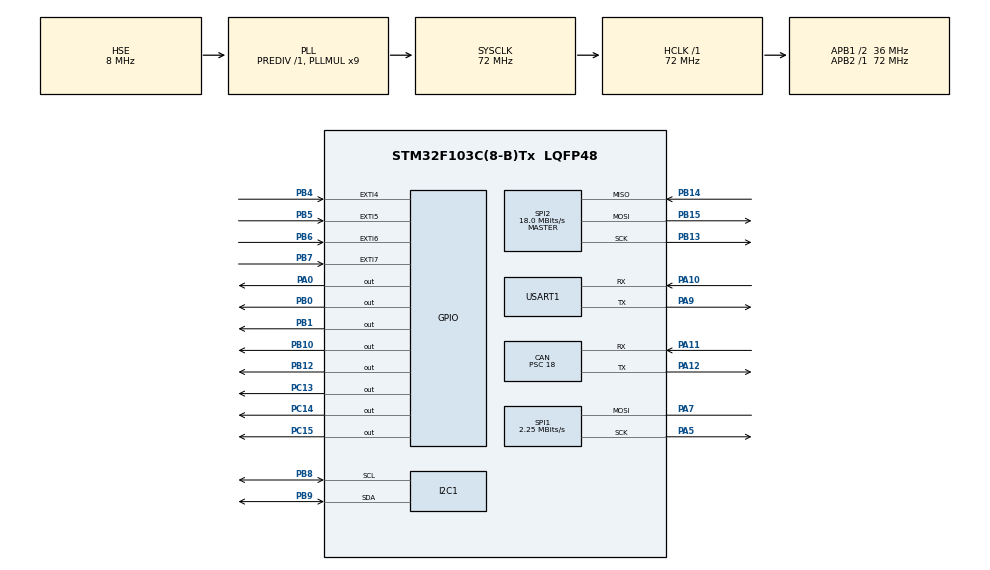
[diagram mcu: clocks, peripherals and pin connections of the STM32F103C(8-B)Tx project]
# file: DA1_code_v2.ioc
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CAN.BS1=CAN_BS1_2TQ
CAN.CalculateBaudRate=500000
CAN.CalculateTimeBit=2000
CAN.CalculateTimeQuantum=500.0
CAN.Prescaler=18
FATFS._MAX_SS=4096
FATFS._USE_LFN=1
Mcu.Family=STM32F1
Mcu.Name=STM32F103C(8-B)Tx
Mcu.Package=LQFP48
NVIC.CAN1_RX1_IRQn=true\:0\:0\:false\:false\:true\:true\:true\:true
NVIC.EXTI4_IRQn=true\:0\:0\:false\:false\:true\:true\:true\:true
NVIC.EXTI9_5_IRQn=true\:0\:0\:false\:false\:true\:true\:true\:true
NVIC.PriorityGroup=NVIC_PRIORITYGROUP_4
PA0-WKUP.PinState=GPIO_PIN_SET
PA0-WKUP.Signal=GPIO_Output
PA10.Mode=Asynchronous
PA10.Signal=USART1_RX
PA11.Mode=CAN_Activate
PA11.Signal=CAN_RX
PA12.Mode=CAN_Activate
PA12.Signal=CAN_TX
PA13.Mode=Serial_Wire
PA13.Signal=SYS_JTMS-SWDIO
PA14.Mode=Serial_Wire
PA14.Signal=SYS_JTCK-SWCLK
PA5.Mode=Simplex_Bidirectional_Master
PA5.Signal=SPI1_SCK
PA7.Mode=Simplex_Bidirectional_Master
PA7.Signal=SPI1_MOSI
PA9.Mode=Asynchronous
PA9.Signal=USART1_TX
PB0.Signal=GPIO_Output
PB1.Signal=GPIO_Output
PB10.Signal=GPIO_Output
PB12.Signal=GPIO_Output
PB13.Mode=Full_Duplex_Master
PB13.Signal=SPI2_SCK
PB14.Mode=Full_Duplex_Master
PB14.Signal=SPI2_MISO
PB15.Mode=Full_Duplex_Master
PB15.Signal=SPI2_MOSI
PB4.GPIO_ModeDefaultEXTI=GPIO_MODE_IT_FALLING
PB4.Signal=GPXTI4
PB5.GPIO_ModeDefaultEXTI=GPIO_MODE_IT_FALLING
PB5.Signal=GPXTI5
PB6.GPIO_ModeDefaultEXTI=GPIO_MODE_IT_FALLING
PB6.Signal=GPXTI6
PB7.GPIO_ModeDefaultEXTI=GPIO_MODE_IT_FALLING
PB7.Signal=GPXTI7
PB8.Mode=I2C
PB8.Signal=I2C1_SCL
PB9.Mode=I2C
PB9.Signal=I2C1_SDA
PC13-TAMPER-RTC.Signal=GPIO_Output
PC14-OSC32_IN.Signal=GPIO_Output
PC15-OSC32_OUT.Signal=GPIO_Output
PD0-OSC_IN.Mode=HSE-External-Oscillator
PD0-OSC_IN.Signal=RCC_OSC_IN
PD1-OSC_OUT.Mode=HSE-External-Oscillator
PD1-OSC_OUT.Signal=RCC_OSC_OUT
ProjectManager.HeapSize=0x200
ProjectManager.StackSize=0x400
ProjectManager.TargetToolchain=STM32CubeIDE
RCC.AHBFreq_Value=72000000
RCC.APB1CLKDivider=RCC_HCLK_DIV2
RCC.APB1Freq_Value=36000000
RCC.APB1TimFreq_Value=72000000
RCC.APB2Freq_Value=72000000
RCC.APB2TimFreq_Value=72000000
RCC.HCLKFreq_Value=72000000
RCC.PLLMUL=RCC_PLL_MUL9
RCC.PLLSourceVirtual=RCC_PLLSOURCE_HSE
RCC.SYSCLKFreq_VALUE=72000000
RCC.SYSCLKSource=RCC_SYSCLKSOURCE_PLLCLK
RCC.USBFreq_Value=72000000
SPI1.BaudRatePrescaler=SPI_BAUDRATEPRESCALER_32
SPI1.CalculateBaudRate=2.25 MBits/s
SPI1.Direction=SPI_DIRECTION_1LINE
SPI1.Mode=SPI_MODE_MASTER
SPI1.VirtualType=VM_MASTER
SPI2.CalculateBaudRate=18.0 MBits/s
SPI2.Direction=SPI_DIRECTION_2LINES
SPI2.Mode=SPI_MODE_MASTER
SPI2.VirtualType=VM_MASTER
USART1.VirtualMode=VM_ASYNC
VP_FATFS_VS_Generic.Mode=User_defined
board=custom

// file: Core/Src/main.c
/* USER CODE BEGIN Header */
/**
  ******************************************************************************
  * @file           : main.c
  * @brief          : Main program body
  ******************************************************************************
  * @attention
  *
  * Copyright (c) 2025 STMicroelectronics.
  * All rights reserved.
  *
  * This software is licensed under terms that can be found in the LICENSE file
  * in the root directory of this software component.
  * If no LICENSE file comes with this software, it is provided AS-IS.
  *
  ******************************************************************************
  */
/* USER CODE END Header */
#include "main.h"
#include "fatfs.h"

/* USER CODE BEGIN Includes */
#include "OBD2.h"
#include "UI.h"
#include "rtime.h"
#include "button.h"
#include "SDlog.h"
/* USER CODE END Includes */

CAN_HandleTypeDef hcan;

I2C_HandleTypeDef hi2c1;

SPI_HandleTypeDef hspi1;
SPI_HandleTypeDef hspi2;

UART_HandleTypeDef huart1;

/* USER CODE BEGIN PV */

uint32_t lastCANtick = 0;
uint32_t lastShowTick = 0;
uint32_t lastLogTick = 0;
uint32_t lastTimeTick = 0;
uint32_t lastFlushTick = 0;

//rtc
DS1307 ds1307;
DS1307 ds1307_prev = {0};
/* USER CODE END PV */

void SystemClock_Config(void);
static void MX_GPIO_Init(void);
static void MX_CAN_Init(void);
//static void MX_RTC_Init(void);
static void MX_SPI1_Init(void);
static void MX_SPI2_Init(void);
static void MX_USART1_UART_Init(void);
static void MX_I2C1_Init(void);

/* USER CODE BEGIN 0 */
\
/* USER CODE END 0 */

int main(void)
{

  /* MCU Configuration--------------------------------------------------------*/

  /* Reset of all peripherals, Initializes the Flash interface and the Systick. */
  HAL_Init();

  /* Configure the system clock */
  SystemClock_Config();

  /* Initialize all configured peripherals */
  MX_GPIO_Init();
  MX_CAN_Init();
  //MX_RTC_Init();
  MX_SPI1_Init();
  MX_SPI2_Init();
  MX_USART1_UART_Init();
  MX_FATFS_Init();
  MX_I2C1_Init();
  /* USER CODE BEGIN 2 */

  DS1307_Init(&ds1307, &hi2c1);

  SDLog_Init();

  display_init();

  OBD2_Config();

  Device_Start();

  /* USER CODE END 2 */

  /* Infinite loop */
  while (1)
  {

    /* USER CODE BEGIN 3 */
	  uint32_t now = HAL_GetTick();

	  // 1. Gửi CAN request mỗi 100ms
	  if ((showingData || isLogging) && (now - lastCANtick >= 100)) {
		  OBD2_SendPIDs();
		  lastCANtick = now;
	  }

	  // 2. Hiển thị dữ liệu mỗi 100ms nếu bật flag
	  if (showingData && ((now - lastShowTick) >= 1000)) {
		  showData();
		  lastShowTick = now;
	  }

	  // 3. Ghi log mỗi 1000ms nếu bật flag
	  if (isLogging && ((now - lastLogTick) >= 1000)) {
		  log_data_to_csv(RPM, Speed, inTakeAir, ThrPos, EngineLoad, CoolantTemp, MassAirFlow, FuelLevel);
//		  SDLog_AddEntry(RPM, Speed, inTakeAir, ThrPos);
		  lastLogTick = now;
	  }

//	  if (isLogging &&  (now - lastFlushTick >= 10000)) {
//	      SDLog_Flush();
//	      lastFlushTick = now;
//	  }

	  // 4. Cập nhật thời gian lên LCD mỗi 1000ms
	  if (now - lastTimeTick >= 1000) {
		  timeUpdate(); // ← chỉ cập nhật phần nào thay đổi
		  lastTimeTick = now;
	  }
  }

  /* USER CODE END 3 */
}

void SystemClock_Config(void)
{
  RCC_OscInitTypeDef RCC_OscInitStruct = {0};
  RCC_ClkInitTypeDef RCC_ClkInitStruct = {0};
  RCC_PeriphCLKInitTypeDef PeriphClkInit = {0};

  /** Initializes the RCC Oscillators according to the specified parameters
  * in the RCC_OscInitTypeDef structure.
  */
  RCC_OscInitStruct.OscillatorType = RCC_OSCILLATORTYPE_LSI|RCC_OSCILLATORTYPE_HSE;
  RCC_OscInitStruct.HSEState = RCC_HSE_ON;
  RCC_OscInitStruct.HSEPredivValue = RCC_HSE_PREDIV_DIV1;
  RCC_OscInitStruct.HSIState = RCC_HSI_ON;
  RCC_OscInitStruct.LSIState = RCC_LSI_ON;
  RCC_OscInitStruct.PLL.PLLState = RCC_PLL_ON;
  RCC_OscInitStruct.PLL.PLLSource = RCC_PLLSOURCE_HSE;
  RCC_OscInitStruct.PLL.PLLMUL = RCC_PLL_MUL9;
  if (HAL_RCC_OscConfig(&RCC_OscInitStruct) != HAL_OK)
  {
    Error_Handler();
  }

  /** Initializes the CPU, AHB and APB buses clocks
  */
  RCC_ClkInitStruct.ClockType = RCC_CLOCKTYPE_HCLK|RCC_CLOCKTYPE_SYSCLK
                              |RCC_CLOCKTYPE_PCLK1|RCC_CLOCKTYPE_PCLK2;
  RCC_ClkInitStruct.SYSCLKSource = RCC_SYSCLKSOURCE_PLLCLK;
  RCC_ClkInitStruct.AHBCLKDivider = RCC_SYSCLK_DIV1;
  RCC_ClkInitStruct.APB1CLKDivider = RCC_HCLK_DIV2;
  RCC_ClkInitStruct.APB2CLKDivider = RCC_HCLK_DIV1;

  if (HAL_RCC_ClockConfig(&RCC_ClkInitStruct, FLASH_LATENCY_2) != HAL_OK)
  {
    Error_Handler();
  }
  PeriphClkInit.PeriphClockSelection = RCC_PERIPHCLK_RTC;
  PeriphClkInit.RTCClockSelection = RCC_RTCCLKSOURCE_LSI;
  if (HAL_RCCEx_PeriphCLKConfig(&PeriphClkInit) != HAL_OK)
  {
    Error_Handler();
  }
}

static void MX_CAN_Init(void)
{

  hcan.Instance = CAN1;
  hcan.Init.Prescaler = 18;
  hcan.Init.Mode = CAN_MODE_NORMAL;
  hcan.Init.SyncJumpWidth = CAN_SJW_1TQ;
  hcan.Init.TimeSeg1 = CAN_BS1_2TQ;
  hcan.Init.TimeSeg2 = CAN_BS2_1TQ;
  hcan.Init.TimeTriggeredMode = DISABLE;
  hcan.Init.AutoBusOff = DISABLE;
  hcan.Init.AutoWakeUp = DISABLE;
  hcan.Init.AutoRetransmission = DISABLE;
  hcan.Init.ReceiveFifoLocked = DISABLE;
  hcan.Init.TransmitFifoPriority = DISABLE;
  if (HAL_CAN_Init(&hcan) != HAL_OK)
  {
    Error_Handler();
  }

}

static void MX_I2C1_Init(void)
{

  hi2c1.Instance = I2C1;
  hi2c1.Init.ClockSpeed = 100000;
  hi2c1.Init.DutyCycle = I2C_DUTYCYCLE_2;
  hi2c1.Init.OwnAddress1 = 0;
  hi2c1.Init.AddressingMode = I2C_ADDRESSINGMODE_7BIT;
  hi2c1.Init.DualAddressMode = I2C_DUALADDRESS_DISABLE;
  hi2c1.Init.OwnAddress2 = 0;
  hi2c1.Init.GeneralCallMode = I2C_GENERALCALL_DISABLE;
  hi2c1.Init.NoStretchMode = I2C_NOSTRETCH_DISABLE;
  if (HAL_I2C_Init(&hi2c1) != HAL_OK)
  {
    Error_Handler();
  }

}

static void MX_SPI1_Init(void)
{

  /* SPI1 parameter configuration*/
  hspi1.Instance = SPI1;
  hspi1.Init.Mode = SPI_MODE_MASTER;
  hspi1.Init.Direction = SPI_DIRECTION_1LINE;
  hspi1.Init.DataSize = SPI_DATASIZE_8BIT;
  hspi1.Init.CLKPolarity = SPI_POLARITY_LOW;
  hspi1.Init.CLKPhase = SPI_PHASE_1EDGE;
  hspi1.Init.NSS = SPI_NSS_SOFT;
  hspi1.Init.BaudRatePrescaler = SPI_BAUDRATEPRESCALER_32;
  hspi1.Init.FirstBit = SPI_FIRSTBIT_MSB;
  hspi1.Init.TIMode = SPI_TIMODE_DISABLE;
  hspi1.Init.CRCCalculation = SPI_CRCCALCULATION_DISABLE;
  hspi1.Init.CRCPolynomial = 10;
  if (HAL_SPI_Init(&hspi1) != HAL_OK)
  {
    Error_Handler();
  }

}

static void MX_SPI2_Init(void)
{

  /* SPI2 parameter configuration*/
  hspi2.Instance = SPI2;
  hspi2.Init.Mode = SPI_MODE_MASTER;
  hspi2.Init.Direction = SPI_DIRECTION_2LINES;
  hspi2.Init.DataSize = SPI_DATASIZE_8BIT;
  hspi2.Init.CLKPolarity = SPI_POLARITY_LOW;
  hspi2.Init.CLKPhase = SPI_PHASE_1EDGE;
  hspi2.Init.NSS = SPI_NSS_SOFT;
  hspi2.Init.BaudRatePrescaler = SPI_BAUDRATEPRESCALER_2;
  hspi2.Init.FirstBit = SPI_FIRSTBIT_MSB;
  hspi2.Init.TIMode = SPI_TIMODE_DISABLE;
  hspi2.Init.CRCCalculation = SPI_CRCCALCULATION_DISABLE;
  hspi2.Init.CRCPolynomial = 10;
  if (HAL_SPI_Init(&hspi2) != HAL_OK)
  {
    Error_Handler();
  }

}

static void MX_USART1_UART_Init(void)
{

  huart1.Instance = USART1;
  huart1.Init.BaudRate = 115200;
  huart1.Init.WordLength = UART_WORDLENGTH_8B;
  huart1.Init.StopBits = UART_STOPBITS_1;
  huart1.Init.Parity = UART_PARITY_NONE;
  huart1.Init.Mode = UART_MODE_TX_RX;
  huart1.Init.HwFlowCtl = UART_HWCONTROL_NONE;
  huart1.Init.OverSampling = UART_OVERSAMPLING_16;
  if (HAL_UART_Init(&huart1) != HAL_OK)
  {
    Error_Handler();
  }

}

static void MX_GPIO_Init(void)
{
  GPIO_InitTypeDef GPIO_InitStruct = {0};

  /* GPIO Ports Clock Enable */
  __HAL_RCC_GPIOC_CLK_ENABLE();
  __HAL_RCC_GPIOD_CLK_ENABLE();
  __HAL_RCC_GPIOA_CLK_ENABLE();
  __HAL_RCC_GPIOB_CLK_ENABLE();

  /*Configure GPIO pin Output Level */
  HAL_GPIO_WritePin(GPIOC, GPIO_PIN_13|GPIO_PIN_14|GPIO_PIN_15, GPIO_PIN_RESET);

  /*Configure GPIO pin Output Level */
  HAL_GPIO_WritePin(GPIOA, GPIO_PIN_0, GPIO_PIN_SET);

  /*Configure GPIO pin Output Level */
  HAL_GPIO_WritePin(GPIOB, GPIO_PIN_0|GPIO_PIN_1|GPIO_PIN_10|GPIO_PIN_12, GPIO_PIN_RESET);

  /*Configure GPIO pins : PC13 PC14 PC15 */
  GPIO_InitStruct.Pin = GPIO_PIN_13|GPIO_PIN_14|GPIO_PIN_15;
  GPIO_InitStruct.Mode = GPIO_MODE_OUTPUT_PP;
  GPIO_InitStruct.Pull = GPIO_NOPULL;
  GPIO_InitStruct.Speed = GPIO_SPEED_FREQ_LOW;
  HAL_GPIO_Init(GPIOC, &GPIO_InitStruct);

  /*Configure GPIO pin : PA0 */
  GPIO_InitStruct.Pin = GPIO_PIN_0;
  GPIO_InitStruct.Mode = GPIO_MODE_OUTPUT_PP;
  GPIO_InitStruct.Pull = GPIO_NOPULL;
  GPIO_InitStruct.Speed = GPIO_SPEED_FREQ_LOW;
  HAL_GPIO_Init(GPIOA, &GPIO_InitStruct);

  /*Configure GPIO pins : PB0 PB1 PB10 PB12 */
  GPIO_InitStruct.Pin = GPIO_PIN_0|GPIO_PIN_1|GPIO_PIN_10|GPIO_PIN_12;
  GPIO_InitStruct.Mode = GPIO_MODE_OUTPUT_PP;
  GPIO_InitStruct.Pull = GPIO_NOPULL;
  GPIO_InitStruct.Speed = GPIO_SPEED_FREQ_LOW;
  HAL_GPIO_Init(GPIOB, &GPIO_InitStruct);

  /*Configure GPIO pins : PB4 PB5 PB6 PB7 */
  GPIO_InitStruct.Pin = GPIO_PIN_4|GPIO_PIN_5|GPIO_PIN_6|GPIO_PIN_7;
  GPIO_InitStruct.Mode = GPIO_MODE_IT_FALLING;
  GPIO_InitStruct.Pull = GPIO_NOPULL;
  HAL_GPIO_Init(GPIOB, &GPIO_InitStruct);

  /* EXTI interrupt init*/
  HAL_NVIC_SetPriority(EXTI4_IRQn, 0, 0);
  HAL_NVIC_EnableIRQ(EXTI4_IRQn);

  HAL_NVIC_SetPriority(EXTI9_5_IRQn, 0, 0);
  HAL_NVIC_EnableIRQ(EXTI9_5_IRQn);

}

/* USER CODE BEGIN 4 */
void Device_Start(void)
{
	while(!initiating);

	while(!init_OK && initiating)
	  {
		  OBD2_init();
		  HAL_Delay(100);
	  }

	ST7735_FillScreen(ST7735_BLACK);
	timeInit();
	ShowMainMenu();
	currentMenu = MENU_MAIN;
}

void HAL_CAN_RxFifo1MsgPendingCallback(CAN_HandleTypeDef *hcan)
{
	HAL_CAN_GetRxMessage(hcan, CAN_RX_FIFO1, &RxHeader, RxData);

//	HAL_GPIO_TogglePin(GPIOC, GPIO_PIN_13);

	switch(RxData[0] & (0x03 << 4))
	{
		case 0x00:
			CAN_SF_Handler();
			break;
		case 0x10:
			CAN_FF_Handler();
			break;
		case 0x20:
			CAN_CF_Handler();
		default:
			break;
	}
}

void HAL_GPIO_EXTI_Callback(uint16_t GPIO_Pin)
{
	handle_button(GPIO_Pin);
}

/* USER CODE END 4 */

void Error_Handler(void)
{
  __disable_irq();
  while (1)
  {
  }
}
